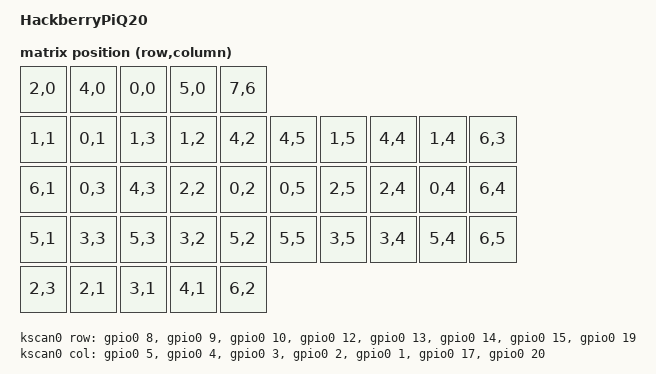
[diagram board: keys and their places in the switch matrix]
/*
 * HackberryPiQ20 - ZitaoTech Q20 (RP2040, wired) ZMK board
 *
 * Pinout taken from the Hackberry Pi V3.0 / Q20 wired schematic:
 *   matrix cols  : GP5 GP4 GP3 GP2 GP1 GP17 GP20
 *   matrix rows  : GP8 GP9 GP10 GP12 GP13 GP14 GP15 GP19
 *   backlight    : GP25 (PWM slice 4B)
 *   layer LED    : GP0  (PWM slice 0A)
 *   trackpad LED : GP11 (PWM slice 5B)
 *   trackpad I2C : SDA GP18 / SCL GP23 @ 0x3B (A320)
 *
 * Copyright (c) 2026 ZitaoTech
 *
 * SPDX-License-Identifier: MIT
 */

/dts-v1/;

#include <raspberrypi/rpi_pico/rp2040.dtsi>
#include <arm/raspberrypi/rp2040-boot-mode-retention.dtsi>

#include <zephyr/dt-bindings/pinctrl/rpi-pico-rp2040-pinctrl.h>
#include <zephyr/dt-bindings/pwm/pwm.h>
#include <zephyr/dt-bindings/i2c/i2c.h>
#include <zephyr/dt-bindings/input/input-event-codes.h>
#include <dt-bindings/zmk/matrix_transform.h>

#include "hackberrypiq20-layouts.dtsi"

/* Keymap layer used as the automatic mouse layer (see &bbtrackpad_listener). */
#define MOUSE_LAYER_ID 4

/ {
    model = "HackberryPiQ20";
    compatible = "zitaotech,hackberrypiq20";

    chosen {
        zephyr,sram = &sram0;
        zephyr,flash = &flash0;
        zephyr,flash-controller = &ssi;
        zephyr,code-partition = &code_partition;
        zephyr,console = &cdc_acm_uart;
        zmk,kscan = &kscan0;
        zmk,physical-layouts = &hackberrypiq20_layout;
        zmk,backlight = &backlight;
        zmk,layer_indicator = &layer_indicator;
        zmk,trackpad_led = &trackpad_led;
        zmk,studio-rpc-uart = &cdc_acm_uart;
    };

    input_processors {
        /* Holds MOUSE_LAYER_ID while the trackpad reports movement. */
        zip_temp_layer: zip_temp_layer {
            compatible = "zmk,input-processor-temp-layer";
            #input-processor-cells = <2>;
        };
    };

    /* Keyboard backlight under the keys (GP25, PWM slice 4 channel B). */
    backlight: backlight {
        compatible = "pwm-leds";
        pwm_led_0 {
            pwms = <&pwm 9 PWM_USEC(20) PWM_POLARITY_NORMAL>;
        };
    };

    /*
     * Layer indicator (GP0, PWM slice 0 channel A): one LED that shows a
     * different effect for each active layer - the "indicator_layer" of the
     * stock QMK firmware, on LAYER_INDICATOR_LED_PIN.
     */
    layer_indicator: layer_indicator {
        compatible = "pwm-leds";
        pwm_led_0 {
            pwms = <&pwm 0 PWM_USEC(20) PWM_POLARITY_NORMAL>;
        };
    };

    /* Trackpad backlight LED (GP11, PWM slice 5 channel B). */
    trackpad_led: trackpad_led {
        compatible = "pwm-leds";
        pwm_led_0 {
            pwms = <&pwm 11 PWM_USEC(20) PWM_POLARITY_NORMAL>;
        };
    };

    default_transform: keymap_transform_0 {
        compatible = "zmk,matrix-transform";
        columns = <7>;
        rows = <8>;
        map = <
RC(2,0)  RC(4,0)  RC(0,0)  RC(5,0)  RC(7,6)
RC(1,1)  RC(0,1)  RC(1,3)  RC(1,2)  RC(4,2)  RC(4,5)  RC(1,5)  RC(4,4)  RC(1,4)  RC(6,3)
RC(6,1)  RC(0,3)  RC(4,3)  RC(2,2)  RC(0,2)  RC(0,5)  RC(2,5)  RC(2,4)  RC(0,4)  RC(6,4)
RC(5,1)  RC(3,3)  RC(5,3)  RC(3,2)  RC(5,2)  RC(5,5)  RC(3,5)  RC(3,4)  RC(5,4)  RC(6,5)
RC(2,3)  RC(2,1)  RC(3,1)  RC(4,1)  RC(6,2)
        >;
    };

    kscan0: kscan {
        compatible = "zmk,kscan-gpio-matrix";
        diode-direction = "col2row";
        wakeup-source;

        row-gpios
            = <&gpio0 8  (GPIO_ACTIVE_HIGH | GPIO_PULL_DOWN)>
            , <&gpio0 9  (GPIO_ACTIVE_HIGH | GPIO_PULL_DOWN)>
            , <&gpio0 10 (GPIO_ACTIVE_HIGH | GPIO_PULL_DOWN)>
            , <&gpio0 12 (GPIO_ACTIVE_HIGH | GPIO_PULL_DOWN)>
            , <&gpio0 13 (GPIO_ACTIVE_HIGH | GPIO_PULL_DOWN)>
            , <&gpio0 14 (GPIO_ACTIVE_HIGH | GPIO_PULL_DOWN)>
            , <&gpio0 15 (GPIO_ACTIVE_HIGH | GPIO_PULL_DOWN)>
            , <&gpio0 19 (GPIO_ACTIVE_HIGH | GPIO_PULL_DOWN)>
            ;

        col-gpios
            = <&gpio0 5  GPIO_ACTIVE_HIGH>
            , <&gpio0 4  GPIO_ACTIVE_HIGH>
            , <&gpio0 3  GPIO_ACTIVE_HIGH>
            , <&gpio0 2  GPIO_ACTIVE_HIGH>
            , <&gpio0 1  GPIO_ACTIVE_HIGH>
            , <&gpio0 17 GPIO_ACTIVE_HIGH>
            , <&gpio0 20 GPIO_ACTIVE_HIGH>
            ;
    };
};

/*
 * Boot-mode retention hardening.
 *
 * Zephyr's stock RP2040 retention area is a single byte at the start of SRAM
 * (0x20000000) that the C runtime deliberately does not clear, and
 * bootmode_check() trusts it as-is: the board jumps into the ROM bootloader
 * when that byte happens to read as BOOT_MODE_TYPE_BOOTLOADER (1).  On a cold
 * power-up the byte holds whatever the SRAM powered up with, so roughly one
 * boot in 256 went straight to the bootloader (RPI-RP2) instead of running the
 * firmware.
 *
 * Giving the area a magic prefix and a CRC8 footer makes a random byte fail
 * validation, while &bootloader still works because bootmode_set() writes the
 * prefix, the value and the checksum together.  The region reserves four
 * bytes: 2 prefix + 1 value + 1 checksum.
 */
&boot_mode {
    reg = <0x0 0x4>;
    prefix = [5a a5];
    checksum = <1>;
};

/* 2 MB QSPI flash (W25Q16). */
&flash0 {
    reg = <0x10000000 DT_SIZE_M(2)>;

    partitions {
        compatible = "fixed-partitions";
        #address-cells = <1>;
        #size-cells = <1>;

        second_stage_bootloader: partition@0 {
            label = "second_stage_bootloader";
            reg = <0x00000000 0x100>;
            read-only;
        };

        code_partition: partition@100 {
            label = "code-partition";
            reg = <0x100 (DT_SIZE_M(2) - 0x100 - DT_SIZE_K(512))>;
            read-only;
        };

        /* Settings / NVS store. */
        storage_partition: partition@180000 {
            label = "storage";
            reg = <0x180000 DT_SIZE_K(512)>;
            read-only;
        };
    };
};

&timer {
    status = "okay";
};

&rtc {
    clocks = <&clocks RPI_PICO_CLKID_CLK_RTC>;
    status = "okay";
};

&vreg {
    regulator-always-on;
    regulator-allowed-modes = <REGULATOR_RPI_PICO_MODE_NORMAL>;
};

&gpio0 {
    status = "okay";
};

&usbd {
    status = "okay";
    cdc_acm_uart: cdc_acm_uart {
        compatible = "zephyr,cdc-acm-uart";
    };
};

zephyr_udc0: &usbd {
    status = "okay";
};

&pwm {
    status = "okay";
    pinctrl-0 = <&pwm_gp0_default &pwm_gp11_default &pwm_gp25_default>;
    pinctrl-names = "default";
};

&pinctrl {
    pwm_gp0_default: pwm_gp0_default {
        group1 {
            pinmux = <PWM_0A_P0>; /* layer indicator */
        };
    };

    pwm_gp11_default: pwm_gp11_default {
        group1 {
            pinmux = <PWM_5B_P11>; /* trackpad backlight */
        };
    };

    pwm_gp25_default: pwm_gp25_default {
        group1 {
            pinmux = <PWM_4B_P25>; /* keyboard backlight */
        };
    };

    i2c1_default: i2c1_default {
        group1 {
            pinmux = <I2C1_SDA_P18>, <I2C1_SCL_P23>;
            input-enable;
            input-schmitt-enable;
        };
    };
};

&i2c1 {
    status = "okay";
    clock-frequency = <I2C_BITRATE_FAST>;
    pinctrl-0 = <&i2c1_default>;
    pinctrl-names = "default";

    bbtrackpad: a320@3b {
        compatible = "avago,a320";
        reg = <0x3b>;
        status = "okay";
    };
};

/ {
    bbtrackpad_listener: bbtrackpad_listener {
        compatible = "zmk,input-listener";
        status = "disabled";
        device = <&bbtrackpad>;
    };
};

&bbtrackpad_listener {
    status = "okay";
    /*
     * Automatic mouse layer: while the trackpad reports movement this holds
     * MOUSE_LAYER_ID active, and drops it again once no movement has arrived
     * for the timeout.  zmk-feature-zitaotech-trackpad overrides both the
     * timeout (Q20 ships with 800 ms) and whether the layer may come up at
     * all, so ZitaoTech Studio can switch the feature off and change the time.
     */
    input-processors = <&zip_temp_layer MOUSE_LAYER_ID 800>;
};
